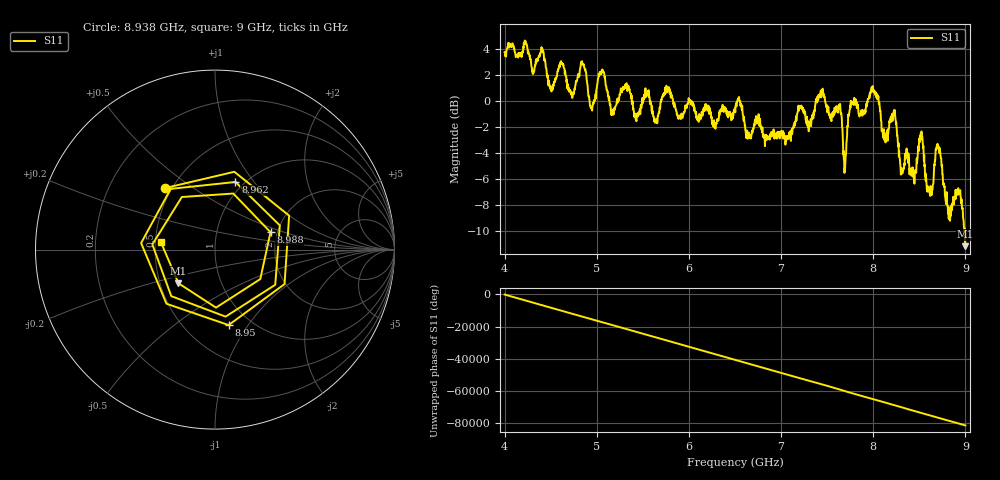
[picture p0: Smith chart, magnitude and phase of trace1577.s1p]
! Created with skrf 1.8.0 (http://scikit-rf.org).
# Hz S RI R 50.0
!freq ReS11 ImS11
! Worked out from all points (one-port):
!   1601 points, 4 GHz to 9 GHz, reference 50 ohm
!   lowest |S11| = -11.2 dB at 8.997 GHz (marker M1), VSWR 1.77, Z = 31.1 - j12.6 ohm
!   |S11| at or under -10 dB: 8.989001 GHz to 8.993073 GHz (4.071 MHz wide, 0.0453 % of centre); 8.994426 GHz to end of sweep
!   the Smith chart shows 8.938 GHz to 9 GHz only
!   S11 on the Smith chart (normalised r, x): 8.938 GHz: 0.46, +0.39; 8.95 GHz: 0.79, -0.82; 8.962 GHz: 0.91, +0.81; 8.988 GHz: 1.84, +0.40; 9 GHz: 0.54, +0.05
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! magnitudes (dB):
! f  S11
! 4 GHz  3.8
! 4.506 GHz  0.8
! 4.625 GHz  2.9
! 4.731 GHz  0.3
! 4.853 GHz  2.8
! 4.944 GHz  -0.5
! 5.053 GHz  2.3
! 5.162 GHz  -1.1
! 5.25 GHz  0.5
! 5.875 GHz  -1.0
! 6.5 GHz  -0.6
! 7.125 GHz  -2.1
! 7.447 GHz  0.8
! 7.634 GHz  -0.6
! 7.691 GHz  -5.1
! 7.75 GHz  -0.3
! 8.003 GHz  0.9
! 8.375 GHz  -4.1
! 8.522 GHz  -2.4
! 8.622 GHz  -6.5
! 8.703 GHz  -3.5
! 8.825 GHz  -9.0
! 8.938 GHz  -7.1
! 8.95 GHz  -7.4
! 8.962 GHz  -8.1
! 8.988 GHz  -9.8
! 8.997 GHz  -11.2
! 9 GHz  -10.4
